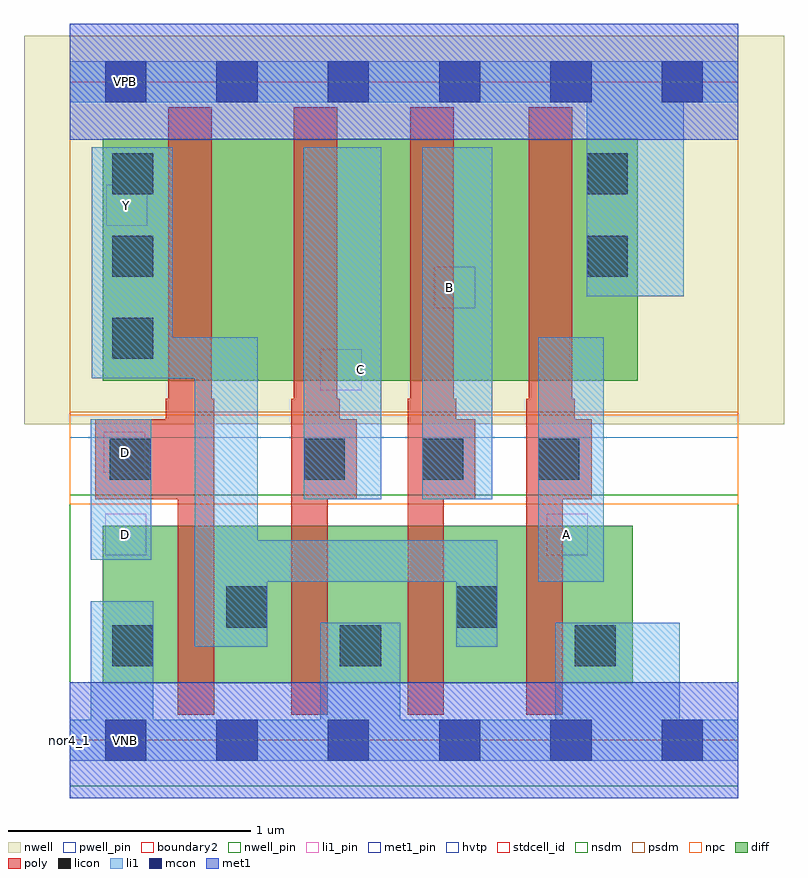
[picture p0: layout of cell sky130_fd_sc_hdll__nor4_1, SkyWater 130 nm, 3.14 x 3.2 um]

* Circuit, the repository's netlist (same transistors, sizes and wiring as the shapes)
* Copyright 2020 The SkyWater PDK Authors
*
* Licensed under the Apache License, Version 2.0 (the "License");
* you may not use this file except in compliance with the License.
* You may obtain a copy of the License at
*
*     https://www.apache.org/licenses/LICENSE-2.0
*
* Unless required by applicable law or agreed to in writing, software
* distributed under the License is distributed on an "AS IS" BASIS,
* WITHOUT WARRANTIES OR CONDITIONS OF ANY KIND, either express or implied.
* See the License for the specific language governing permissions and
* limitations under the License.
*
* SPDX-License-Identifier: Apache-2.0

.SUBCKT sky130_fd_sc_hdll__nor4_1 A B C D VGND VNB VPB VPWR Y
*.PININFO A:I B:I C:I D:I VGND:I VNB:I VPB:I VPWR:I Y:O
MMP0 VPWR A sndPA VPB sky130_fd_pr__pfet_01v8_hvt m=1 w=1.0U l=0.18U mult=1 sa=0.265
+ sb=0.265 sd=0.28 area=0.028 perim=0.76
MMP1 sndPA B sndPB VPB sky130_fd_pr__pfet_01v8_hvt m=1 w=1.0U l=0.18U mult=1 sa=0.265
+ sb=0.265 sd=0.28 area=0.028 perim=0.76
MMP2 sndPB C sndPC VPB sky130_fd_pr__pfet_01v8_hvt m=1 w=1.0U l=0.18U mult=1 sa=0.265
+ sb=0.265 sd=0.28 area=0.028 perim=0.76
MMP3 sndPC D Y VPB sky130_fd_pr__pfet_01v8_hvt m=1 w=1.0U l=0.18U mult=1 sa=0.265
+ sb=0.265 sd=0.28 area=0.028 perim=0.76
MMN0 Y A VGND VNB sky130_fd_pr__nfet_01v8 m=1 w=0.65U l=0.15U mult=1 sa=0.265 sb=0.265
+ sd=0.28 area=0.028 perim=0.76
MMN1 Y B VGND VNB sky130_fd_pr__nfet_01v8 m=1 w=0.65U l=0.15U mult=1 sa=0.265 sb=0.265
+ sd=0.28 area=0.028 perim=0.76
MMN2 Y C VGND VNB sky130_fd_pr__nfet_01v8 m=1 w=0.65U l=0.15U mult=1 sa=0.265 sb=0.265
+ sd=0.28 area=0.028 perim=0.76
MMN3 Y D VGND VNB sky130_fd_pr__nfet_01v8 m=1 w=0.65U l=0.15U mult=1 sa=0.265 sb=0.265
+ sd=0.28 area=0.028 perim=0.76
.ENDS sky130_fd_sc_hdll__nor4_1

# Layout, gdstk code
import gdstk
lib = gdstk.Library(unit=1e-6, precision=1e-09)
def R(c, l, rs):  # rectangles x0, y0, x1, y1
    for r in rs: c.add(gdstk.rectangle(r[:2], r[2:], *l))
def A(c, l, x, y, w, h, nx, ny, dx, dy):  # array of equal rectangles
    R(c, l, [(x+i*dx, y+j*dy, x+i*dx+w, y+j*dy+h) for i in range(nx) for j in range(ny)])
def P(c, l, *ps):  # polygons
    for p in ps: c.add(gdstk.Polygon(p, *l))
nwell_pin = (64, 16)
nwell = (64, 20)
diff = (65, 20)
poly = (66, 20)
licon = (66, 44)
li1_pin = (67, 16)
li1 = (67, 20)
mcon = (67, 44)
met1_pin = (68, 16)
met1 = (68, 20)
hvtp = (78, 44)
stdcell_id = (81, 4)
nsdm = (93, 44)
psdm = (94, 20)
npc = (95, 20)
pwell_pin = (122, 16)
boundary2 = (236, 0)

sky130_fd_sc_hdll__nor4_ = lib.new_cell('sky130_fd_sc_hdll__nor4_1')
R(sky130_fd_sc_hdll__nor4_, nwell_pin, [(0.145,2.635,0.315,2.805)])
R(sky130_fd_sc_hdll__nor4_, nwell, [(-0.19,1.305,2.95,2.91)])
R(sky130_fd_sc_hdll__nor4_, diff, [(0.135,0.235,2.325,0.885), (0.135,1.485,2.345,2.485)])
P(sky130_fd_sc_hdll__nor4_, poly, [(0.595,1.41),(0.585,1.41),(0.585,2.615),(0.405,2.615),(0.405,1.41),(0.395,1.41),(0.395,1.325),(0.105,1.325),(0.105,0.995),(0.445,0.995),(0.445,0.105),(0.595,0.105)],
  [(1.185,1.325),(1.115,1.325),(1.115,1.41),(1.105,1.41),(1.105,2.615),(0.925,2.615),(0.925,1.41),(0.915,1.41),(0.915,0.105),(1.065,0.105),(1.065,0.995),(1.185,0.995)],
  [(1.675,1.325),(1.595,1.325),(1.595,1.41),(1.585,1.41),(1.585,2.615),(1.405,2.615),(1.405,1.41),(1.395,1.41),(1.395,0.105),(1.545,0.105),(1.545,0.995),(1.675,0.995)],
  [(2.155,1.325),(2.085,1.325),(2.085,1.41),(2.075,1.41),(2.075,2.615),(1.895,2.615),(1.895,1.41),(1.885,1.41),(1.885,0.105),(2.035,0.105),(2.035,0.995),(2.155,0.995)])
A(sky130_fd_sc_hdll__nor4_, licon, 0.175, 1.575, 0.17, 0.17, 1, 3, 0, 0.34)
R(sky130_fd_sc_hdll__nor4_, licon, [(0.175,0.305,0.345,0.475), (1.115,0.305,1.285,0.475), (2.085,0.305,2.255,0.475), (0.645,0.465,0.815,0.635), (1.595,0.465,1.765,0.635), (0.165,1.075,0.335,1.245), (0.965,1.075,1.135,1.245), (1.455,1.075,1.625,1.245), (1.935,1.075,2.105,1.245), (2.135,1.915,2.305,2.085), (2.135,2.255,2.305,2.425)])
R(sky130_fd_sc_hdll__nor4_, li1_pin, [(0.145,0.765,0.315,0.935), (1.97,0.765,2.14,0.935), (0.14,1.105,0.31,1.275), (1.035,1.445,1.205,1.615), (1.505,1.785,1.675,1.955), (0.15,2.125,0.32,2.295)])
R(sky130_fd_sc_hdll__nor4_, li1, [(1.935,0.655,2.205,1.665), (0.085,0.745,0.335,1.325), (0.965,0.995,1.285,2.45), (1.455,0.995,1.745,2.45)])
P(sky130_fd_sc_hdll__nor4_, li1, [(2.76,0.085),(2.52,0.085),(2.52,0.485),(2.005,0.485),(2.005,0.085),(1.365,0.085),(1.365,0.485),(1.035,0.485),(1.035,0.085),(0.345,0.085),(0.345,0.575),(0.085,0.575),(0.085,0.085),(0,0.085),(0,-0.085),(2.76,-0.085)],
  [(1.765,0.825),(0.775,0.825),(0.775,1.665),(0.425,1.665),(0.425,2.45),(0.09,2.45),(0.09,1.495),(0.515,1.495),(0.515,0.385),(0.815,0.385),(0.815,0.655),(1.595,0.655),(1.595,0.385),(1.765,0.385)],
  [(2.76,2.805),(0,2.805),(0,2.635),(2.135,2.635),(2.135,1.835),(2.535,1.835),(2.535,2.635),(2.76,2.635)])
A(sky130_fd_sc_hdll__nor4_, mcon, 0.145, -0.085, 0.17, 0.17, 6, 2, 0.46, 2.72)
R(sky130_fd_sc_hdll__nor4_, met1_pin, [(0.145,-0.085,0.315,0.085), (0.145,2.635,0.315,2.805)])
R(sky130_fd_sc_hdll__nor4_, met1, [(0,-0.24,2.76,0.24), (0,2.48,2.76,2.96)])
R(sky130_fd_sc_hdll__nor4_, hvtp, [(0,1.25,2.76,2.72)])
R(sky130_fd_sc_hdll__nor4_, stdcell_id, [(0,0,2.76,2.72)])
R(sky130_fd_sc_hdll__nor4_, nsdm, [(0,-0.19,2.76,1.015)])
R(sky130_fd_sc_hdll__nor4_, psdm, [(0,1.355,2.76,2.91)])
R(sky130_fd_sc_hdll__nor4_, npc, [(0,0.975,2.76,1.345)])
R(sky130_fd_sc_hdll__nor4_, pwell_pin, [(0.145,-0.085,0.315,0.085)])
R(sky130_fd_sc_hdll__nor4_, boundary2, [(0,0,2.76,2.72)])
sky130_fd_sc_hdll__nor4_.add(gdstk.Label('D', (0.23,0.85), layer=67, texttype=5))
sky130_fd_sc_hdll__nor4_.add(gdstk.Label('C', (1.2,1.53), layer=67, texttype=5))
sky130_fd_sc_hdll__nor4_.add(gdstk.Label('D', (0.23,1.19), layer=67, texttype=5))
sky130_fd_sc_hdll__nor4_.add(gdstk.Label('Y', (0.235,2.21), layer=67, texttype=5))
sky130_fd_sc_hdll__nor4_.add(gdstk.Label('A', (2.05,0.85), layer=67, texttype=5))
sky130_fd_sc_hdll__nor4_.add(gdstk.Label('B', (1.57,1.87), layer=67, texttype=5))
sky130_fd_sc_hdll__nor4_.add(gdstk.Label('VPB', (0.23,2.72), layer=64, texttype=5))
sky130_fd_sc_hdll__nor4_.add(gdstk.Label('VNB', (0.23,0), layer=64, texttype=59))
sky130_fd_sc_hdll__nor4_.add(gdstk.Label('VGND', (0.23,0), layer=68, texttype=5))
sky130_fd_sc_hdll__nor4_.add(gdstk.Label('VPWR', (0.23,2.72), layer=68, texttype=5))
sky130_fd_sc_hdll__nor4_.add(gdstk.Label('nor4_1', (0,0), layer=83, texttype=44))

lib.write_gds('sky130_fd_sc_hdll__nor4_1.gds')
